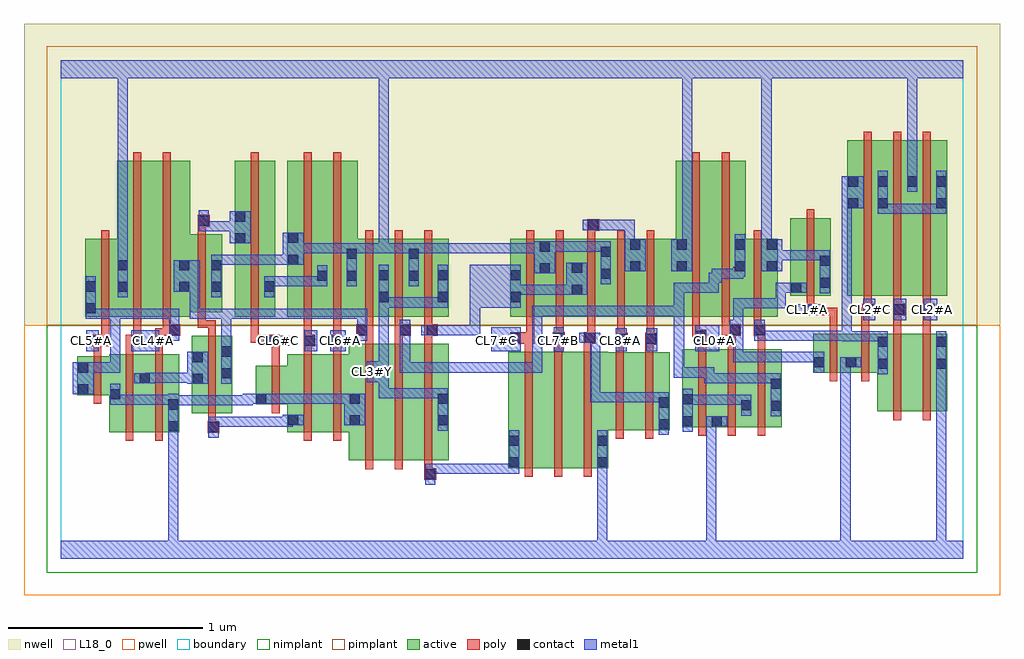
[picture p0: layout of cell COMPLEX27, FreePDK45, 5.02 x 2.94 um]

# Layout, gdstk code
import gdstk
lib = gdstk.Library(unit=1e-6, precision=1e-09)
def R(c, l, rs):  # rectangles x0, y0, x1, y1
    for r in rs: c.add(gdstk.rectangle(r[:2], r[2:], *l))
def A(c, l, x, y, w, h, nx, ny, dx, dy):  # array of equal rectangles
    R(c, l, [(x+i*dx, y+j*dy, x+i*dx+w, y+j*dy+h) for i in range(nx) for j in range(ny)])
active = (1, 0)
pwell = (2, 0)
nwell = (3, 0)
nimplant = (4, 0)
pimplant = (5, 0)
poly = (9, 0)
contact = (10, 0)
metal1 = (11, 0)
L18_0 = (18, 0)
boundary = (235, 0)

complex27 = lib.new_cell('COMPLEX27')
A(complex27, active, 3.342, 0.676, 0.06, 0.4, 3, 1, 0.152, 0)
R(complex27, active, [(2.302,0.464,2.482,1.064), (2.302,0.464,2.362,1.064), (2.482,0.464,2.634,1.064), (2.634,0.464,2.814,1.064), (2.754,0.464,2.814,0.66), (1.482,0.504,1.662,1.104), (1.662,0.504,1.814,1.104), (1.814,0.504,1.994,1.104), (1.934,0.504,1.994,1.104), (1.482,0.612,1.542,0.852), (0.25,0.65,0.462,1.05), (0.402,0.65,0.61,1.05), (0.55,0.65,0.61,1.05), (1.166,0.65,1.346,1.05), (1.346,0.65,1.542,1.05), (2.754,0.66,2.95,1.06), (2.95,0.66,3.13,1.06), (3.07,0.66,3.13,1.06), (3.194,0.676,3.254,1.076), (3.194,0.676,3.402,1.076), (3.342,0.676,3.554,1.076), (3.494,0.676,3.706,1.076), (1.166,0.682,1.226,0.85), (0.674,0.746,0.882,1.146), (0.402,0.756,0.462,1.05), (0.674,0.756,0.734,1.146), (0.822,0.756,0.882,1.146), (4.196,0.756,4.256,1.156), (4.196,0.756,4.376,1.156), (4.376,0.756,4.556,1.156), (4.496,0.756,4.556,1.156), (1.002,0.792,1.226,0.992), (1.002,0.792,1.062,0.992), (0.25,0.814,0.31,0.874), (0.086,0.84,0.31,1.04), (0.086,0.84,0.146,1.04), (3.868,0.956,4.092,1.156), (3.868,0.956,3.928,1.156), (4.032,0.956,4.256,1.156), (4.032,0.956,4.092,1.156), (0.126,1.244,0.186,1.644), (0.126,1.244,0.35,1.644), (0.29,1.244,0.47,2.044), (0.47,1.244,0.666,2.044), (0.894,1.244,1.102,2.044), (0.894,1.244,0.954,2.044), (1.042,1.244,1.102,2.044), (1.166,1.244,1.374,2.044), (1.166,1.244,1.226,2.044), (1.314,1.244,1.526,2.044), (1.314,1.244,1.374,2.044), (1.466,1.244,1.69,1.644), (1.63,1.244,1.846,1.644), (1.786,1.244,1.994,1.644), (1.934,1.244,1.994,1.644), (2.31,1.244,2.37,1.644), (2.31,1.244,2.518,1.644), (2.458,1.244,2.684,1.644), (2.624,1.244,2.684,1.644), (2.624,1.244,2.832,1.644), (2.772,1.244,2.832,1.644), (2.772,1.244,2.984,1.644), (2.924,1.244,2.984,1.644), (2.924,1.244,3.222,1.644), (3.162,1.244,3.342,2.044), (3.342,1.244,3.522,2.044), (3.462,1.244,3.686,1.644), (3.626,1.244,3.686,1.644), (0.606,1.266,0.83,1.666), (0.77,1.266,0.83,1.656), (1.63,1.314,1.69,1.644), (0.29,1.338,0.35,1.644), (3.75,1.35,3.958,1.75), (3.75,1.35,3.81,1.644), (3.898,1.35,3.958,1.75), (4.044,1.35,4.104,2.044), (4.044,1.35,4.256,2.15), (4.196,1.35,4.408,2.15), (4.348,1.35,4.556,2.15), (4.496,1.35,4.556,2.044), (0.606,1.366,0.666,1.714), (3.462,1.38,3.522,2.044), (1.786,1.39,1.846,1.644), (1.466,1.424,1.526,1.644), (2.458,1.456,2.518,1.644), (3.162,1.466,3.222,2.044), (4.196,1.686,4.256,2.044), (4.348,1.686,4.408,2.122)])
R(complex27, pwell, [(-0.188,-0.188,4.828,1.2)])
R(complex27, nwell, [(-0.188,1.2,4.828,2.748)])
R(complex27, nimplant, [(-0.072,-0.072,4.712,1.2)])
R(complex27, pimplant, [(-0.072,1.2,4.712,2.632)])
A(complex27, poly, 2.386, 0.42, 0.04, 0.688, 3, 1, 0.152, 0)
A(complex27, poly, 1.566, 0.46, 0.04, 0.688, 3, 1, 0.152, 0)
A(complex27, poly, 3.278, 0.632, 0.04, 0.488, 3, 1, 0.152, 0)
A(complex27, poly, 2.386, 1.068, 0.04, 0.076, 3, 1, 0.152, 0)
A(complex27, poly, 1.566, 1.108, 0.04, 0.076, 3, 2, 0.152, 0.056)
A(complex27, poly, 3.952, 1.16, 0.04, 0.13, 3, 1, 0.164, 0)
A(complex27, poly, 1.566, 1.2, 0.04, 0.488, 3, 1, 0.152, 0)
A(complex27, poly, 2.708, 1.2, 0.04, 0.488, 3, 1, 0.152, 0)
A(complex27, poly, 4.128, 1.27, 0.04, 0.076, 3, 1, 0.152, 0)
A(complex27, poly, 4.128, 1.306, 0.04, 0.888, 3, 1, 0.152, 0)
R(complex27, poly, [(1.87,0.404,1.93,0.464), (1.87,0.424,1.91,0.5), (0.334,0.606,0.374,1.094), (0.486,0.606,0.526,1.094), (1.25,0.606,1.29,1.094), (1.402,0.606,1.442,1.094), (2.854,0.616,2.894,1.104), (3.006,0.616,3.046,1.104), (0.756,0.646,0.816,0.706), (0.758,0.666,0.798,0.742), (0.758,0.702,0.798,1.19), (4.28,0.712,4.32,1.2), (4.432,0.712,4.472,1.2), (1.086,0.748,1.126,1.036), (0.17,0.796,0.21,1.084), (3.952,0.912,3.992,1.2), (4.116,0.912,4.156,1.2), (1.086,0.996,1.126,1.13), (0.17,1.044,0.21,1.13), (0.334,1.054,0.374,1.13), (0.486,1.054,0.526,1.184), (1.25,1.054,1.29,1.13), (1.402,1.054,1.442,1.13), (2.854,1.064,2.894,1.14), (3.006,1.064,3.046,1.14), (3.278,1.08,3.318,1.156), (3.43,1.08,3.47,1.184), (3.582,1.08,3.622,1.184), (0.14,1.09,0.25,1.15), (0.17,1.09,0.21,1.13), (0.17,1.09,0.21,1.13), (0.334,1.09,0.42,1.15), (1.066,1.09,1.126,1.15), (1.25,1.09,1.31,1.15), (1.382,1.09,1.442,1.15), (2.854,1.1,2.914,1.16), (3.006,1.1,3.066,1.16), (2.31,1.104,2.434,1.164), (2.386,1.104,2.426,1.144), (2.386,1.104,2.426,1.144), (2.53,1.104,2.59,1.164), (2.69,1.104,2.75,1.164), (0.21,1.11,0.25,1.24), (0.374,1.11,0.414,1.15), (0.374,1.11,0.414,1.15), (0.374,1.11,0.414,1.24), (0.978,1.11,1.018,1.24), (0.978,1.11,1.106,1.15), (1.066,1.11,1.106,1.15), (1.25,1.11,1.29,1.15), (1.25,1.11,1.29,1.15), (1.25,1.11,1.29,1.24), (1.402,1.11,1.442,1.15), (1.402,1.11,1.442,1.15), (1.402,1.11,1.442,1.24), (3.246,1.116,3.318,1.176), (3.278,1.116,3.318,1.156), (3.278,1.116,3.318,1.156), (2.86,1.12,2.9,1.16), (2.86,1.12,2.9,1.16), (2.86,1.12,2.9,1.24), (3.012,1.12,3.052,1.16), (3.012,1.12,3.052,1.16), (3.012,1.12,3.052,1.24), (2.394,1.124,2.434,1.24), (2.546,1.124,2.586,1.164), (2.546,1.124,2.586,1.164), (2.546,1.124,2.586,1.24), (2.708,1.124,2.748,1.164), (2.708,1.124,2.748,1.164), (2.708,1.124,2.748,1.24), (3.246,1.136,3.286,1.24), (0.486,1.144,0.566,1.184), (0.526,1.144,0.566,1.184), (0.526,1.144,0.614,1.204), (1.52,1.144,1.606,1.204), (1.566,1.144,1.606,1.184), (1.566,1.144,1.606,1.184), (1.718,1.144,1.8,1.204), (1.87,1.144,1.91,1.184), (1.87,1.144,1.91,1.184), (1.87,1.144,1.938,1.204), (3.398,1.144,3.496,1.204), (3.43,1.144,3.47,1.184), (3.43,1.144,3.47,1.184), (3.562,1.144,3.622,1.204), (0.758,1.15,0.798,1.226), (4.432,1.16,4.472,1.29), (0.526,1.164,0.566,1.24), (1.718,1.164,1.758,1.204), (1.718,1.164,1.758,1.204), (3.398,1.164,3.438,1.24), (3.562,1.164,3.602,1.24), (3.562,1.164,3.602,1.204), (3.562,1.164,3.602,1.204), (0.706,1.186,0.746,1.262), (0.706,1.186,0.798,1.226), (0.758,1.186,0.798,1.226), (0.758,1.186,0.798,1.226), (0.21,1.2,0.25,1.688), (0.374,1.2,0.414,2.088), (0.526,1.2,0.566,2.088), (0.978,1.2,1.018,2.088), (1.25,1.2,1.29,2.088), (1.402,1.2,1.442,2.088), (2.394,1.2,2.434,1.688), (2.546,1.2,2.586,1.688), (3.246,1.2,3.286,2.088), (3.398,1.2,3.438,2.088), (3.562,1.2,3.602,1.688), (0.706,1.222,0.746,1.71), (3.826,1.25,3.886,1.31), (3.846,1.25,3.886,1.29), (3.846,1.25,3.992,1.29), (4.116,1.25,4.16,1.29), (4.12,1.25,4.16,1.29), (4.12,1.25,4.18,1.31), (4.28,1.25,4.32,1.29), (4.28,1.25,4.32,1.29), (4.28,1.25,4.34,1.31), (4.432,1.25,4.492,1.31), (3.834,1.27,3.874,1.346), (4.432,1.27,4.472,1.31), (4.432,1.27,4.472,1.31), (3.834,1.306,3.874,1.794), (2.708,1.648,2.748,1.724), (0.706,1.67,0.746,1.746), (2.708,1.684,2.768,1.744), (0.706,1.706,0.766,1.766)])
A(complex27, contact, 4.048, 1.912, 0.052, 0.052, 3, 1, 0.152, 0)
R(complex27, contact, [(1.874,0.408,1.926,0.46), (2.306,0.468,2.358,0.52), (2.758,0.468,2.81,0.52), (2.306,0.58,2.358,0.632), (2.758,0.58,2.81,0.632), (0.76,0.65,0.812,0.702), (0.554,0.654,0.606,0.706), (3.074,0.664,3.126,0.716), (3.198,0.68,3.25,0.732), (3.346,0.68,3.398,0.732), (1.486,0.684,1.538,0.736), (1.938,0.684,1.99,0.736), (1.17,0.686,1.222,0.738), (3.65,0.76,3.702,0.812), (3.498,0.762,3.55,0.814), (0.554,0.766,0.606,0.818), (3.074,0.776,3.126,0.828), (3.198,0.792,3.25,0.844), (1.006,0.796,1.058,0.848), (1.486,0.796,1.538,0.848), (1.938,0.796,1.99,0.848), (0.254,0.818,0.306,0.87), (0.09,0.844,0.142,0.896), (3.65,0.872,3.702,0.924), (0.678,0.898,0.73,0.95), (0.406,0.9,0.458,0.952), (0.826,0.926,0.878,0.978), (0.09,0.956,0.142,1.008), (4.2,0.976,4.252,1.028), (4.5,0.976,4.552,1.028), (3.872,0.982,3.924,1.034), (4.036,0.982,4.088,1.034), (0.678,1.01,0.73,1.062), (0.826,1.038,0.878,1.09), (4.2,1.088,4.252,1.14), (4.5,1.088,4.552,1.14), (0.144,1.094,0.196,1.146), (0.364,1.094,0.416,1.146), (1.07,1.094,1.122,1.146), (1.254,1.094,1.306,1.146), (1.386,1.094,1.438,1.146), (2.858,1.104,2.91,1.156), (3.01,1.104,3.062,1.156), (2.314,1.108,2.366,1.16), (2.534,1.108,2.586,1.16), (2.694,1.108,2.746,1.16), (3.262,1.12,3.314,1.172), (0.558,1.148,0.61,1.2), (1.524,1.148,1.576,1.2), (1.744,1.148,1.796,1.2), (1.882,1.148,1.934,1.2), (3.44,1.148,3.492,1.2), (3.566,1.148,3.618,1.2), (3.83,1.254,3.882,1.306), (4.124,1.254,4.176,1.306), (4.284,1.254,4.336,1.306), (4.436,1.254,4.488,1.306), (0.13,1.26,0.182,1.312), (1.634,1.318,1.686,1.37), (1.938,1.318,1.99,1.37), (2.314,1.318,2.366,1.37), (2.628,1.356,2.68,1.408), (3.754,1.366,3.806,1.418), (0.294,1.37,0.346,1.422), (0.61,1.37,0.662,1.422), (0.774,1.37,0.826,1.422), (0.13,1.372,0.182,1.424), (1.046,1.372,1.098,1.424), (3.902,1.392,3.954,1.444), (1.318,1.428,1.37,1.48), (1.47,1.428,1.522,1.48), (1.79,1.428,1.842,1.48), (1.634,1.43,1.686,1.482), (1.938,1.43,1.99,1.482), (2.314,1.43,2.366,1.482), (2.776,1.438,2.828,1.49), (2.462,1.466,2.514,1.518), (2.628,1.468,2.68,1.52), (2.928,1.476,2.98,1.528), (3.166,1.476,3.218,1.528), (3.466,1.476,3.518,1.528), (3.63,1.476,3.682,1.528), (0.294,1.482,0.346,1.534), (0.61,1.482,0.662,1.534), (0.774,1.482,0.826,1.534), (3.902,1.504,3.954,1.556), (1.17,1.51,1.222,1.562), (1.47,1.54,1.522,1.592), (1.79,1.54,1.842,1.592), (2.776,1.55,2.828,1.602), (2.462,1.578,2.514,1.63), (2.928,1.588,2.98,1.64), (3.166,1.588,3.218,1.64), (3.466,1.588,3.518,1.64), (3.63,1.588,3.682,1.64), (0.898,1.62,0.95,1.672), (1.17,1.622,1.222,1.674), (2.712,1.688,2.764,1.74), (0.71,1.71,0.762,1.762), (0.898,1.732,0.95,1.784), (4.048,1.8,4.1,1.852), (4.2,1.8,4.252,1.852), (4.5,1.8,4.552,1.852), (4.5,1.912,4.552,1.964)])
A(complex27, metal1, 1.254, 1.232, 0.052, 0.052, 1, 3, 0, 0.168)
R(complex27, metal1, [(0,0,4.64,0.092), (0.554,0.04,0.606,0.092), (0.554,0.04,0.606,0.092), (0.554,0.04,0.606,0.092), (0.554,0.04,0.606,0.092), (0.554,0.04,0.606,0.092), (0.554,0.04,0.606,0.092), (0.554,0.04,0.606,0.092), (0.554,0.04,0.606,0.092), (0.554,0.04,0.606,0.092), (0.554,0.04,0.606,0.092), (0.554,0.04,0.606,0.092), (0.554,0.04,0.606,0.092), (0.554,0.04,0.606,0.84), (2.758,0.04,2.81,0.092), (2.758,0.04,2.81,0.092), (2.758,0.04,2.81,0.092), (2.758,0.04,2.81,0.092), (2.758,0.04,2.81,0.092), (2.758,0.04,2.81,0.092), (2.758,0.04,2.81,0.092), (2.758,0.04,2.81,0.092), (2.758,0.04,2.81,0.492), (3.318,0.04,3.37,0.092), (3.318,0.04,3.37,0.092), (3.318,0.04,3.37,0.092), (3.318,0.04,3.37,0.092), (3.318,0.04,3.37,0.092), (3.318,0.04,3.37,0.092), (3.318,0.04,3.37,0.092), (3.318,0.04,3.37,0.092), (3.318,0.04,3.37,0.092), (3.318,0.04,3.37,0.092), (3.318,0.04,3.37,0.092), (3.318,0.04,3.37,0.092), (3.318,0.04,3.37,0.732), (4.008,0.04,4.06,1.034), (4.5,0.04,4.552,0.092), (4.5,0.04,4.552,0.092), (4.5,0.04,4.552,0.092), (4.5,0.04,4.552,0.092), (4.5,0.04,4.552,0.092), (4.5,0.04,4.552,0.092), (4.5,0.04,4.552,0.092), (4.5,0.04,4.552,0.092), (4.5,0.04,4.552,0.092), (4.5,0.04,4.552,0.092), (4.5,0.04,4.552,1), (1.874,0.38,1.926,0.488), (1.874,0.436,2.156,0.488), (2.104,0.436,2.156,0.488), (2.104,0.436,2.358,0.488), (2.306,0.436,2.358,0.488), (2.306,0.436,2.358,0.492), (2.306,0.44,2.358,0.66), (2.758,0.44,2.81,0.66), (0.76,0.622,0.812,0.73), (0.554,0.626,0.606,0.846), (3.074,0.636,3.126,0.856), (3.198,0.652,3.25,0.872), (1.938,0.656,1.99,0.876), (0.76,0.678,0.878,0.73), (0.826,0.678,0.878,0.73), (0.826,0.678,0.988,0.73), (0.936,0.678,0.988,0.73), (0.936,0.678,0.988,0.73), (0.936,0.678,0.988,0.73), (0.936,0.678,1.194,0.73), (1.142,0.678,1.194,0.73), (1.142,0.678,1.194,0.738), (3.318,0.68,3.426,0.732), (1.458,0.684,1.566,0.848), (1.142,0.686,1.25,0.738), (3.65,0.732,3.702,0.952), (3.498,0.734,3.55,0.842), (0.554,0.788,0.606,0.84), (0.554,0.788,0.606,0.84), (0.554,0.788,0.798,0.84), (0.746,0.788,0.798,0.84), (0.746,0.788,0.878,0.84), (0.826,0.788,0.878,0.84), (0.826,0.788,0.988,0.84), (0.936,0.788,0.988,0.84), (0.936,0.788,0.988,0.848), (0.254,0.79,0.306,0.898), (0.254,0.79,0.35,0.842), (0.298,0.79,0.35,0.842), (0.298,0.79,0.46,0.842), (0.408,0.79,0.46,0.842), (0.408,0.79,0.46,0.842), (0.408,0.79,0.46,0.842), (0.408,0.79,0.606,0.842), (3.198,0.79,3.25,0.842), (3.198,0.79,3.25,0.842), (3.198,0.79,3.36,0.842), (3.308,0.79,3.36,0.842), (3.308,0.79,3.508,0.842), (3.456,0.79,3.508,0.842), (3.456,0.79,3.55,0.842), (0.936,0.796,0.988,0.848), (0.936,0.796,0.988,0.848), (0.936,0.796,0.988,0.848), (0.936,0.796,0.988,0.848), (0.936,0.796,0.988,0.848), (0.936,0.796,0.988,0.848), (0.936,0.796,1.196,0.848), (0.936,0.796,1.086,0.848), (1.144,0.796,1.196,0.848), (1.144,0.796,1.196,0.848), (1.144,0.796,1.196,0.848), (1.144,0.796,1.306,0.848), (1.254,0.796,1.306,0.848), (1.254,0.796,1.4,0.848), (1.348,0.796,1.4,0.848), (1.348,0.796,1.416,0.848), (1.364,0.796,1.416,0.848), (1.364,0.796,1.51,0.848), (2.722,0.804,2.774,0.856), (2.722,0.804,2.906,0.856), (2.722,0.804,2.774,1.16), (2.854,0.804,2.906,0.856), (2.854,0.804,2.906,0.856), (2.854,0.804,2.906,0.856), (2.854,0.804,3.094,0.856), (3.042,0.804,3.094,0.856), (3.042,0.804,3.126,0.856), (1.634,0.824,1.686,0.876), (1.634,0.824,1.686,0.876), (1.634,0.824,1.686,0.876), (1.634,0.824,1.796,0.876), (1.634,0.824,1.686,0.958), (1.744,0.824,1.796,0.876), (1.744,0.824,1.99,0.876), (1.938,0.824,1.99,0.876), (1.938,0.824,1.99,0.876), (0.062,0.844,0.17,1.008), (0.65,0.898,0.758,1.062), (0.826,0.898,0.878,1.118), (0.378,0.9,0.486,0.952), (0.434,0.9,0.486,0.952), (0.434,0.9,0.486,0.956), (3.308,0.9,3.36,0.952), (3.308,0.9,3.36,0.952), (3.308,0.9,3.36,0.952), (3.308,0.9,3.508,0.952), (3.308,0.9,3.36,0.982), (3.456,0.9,3.508,0.952), (3.456,0.9,3.508,0.952), (3.456,0.9,3.508,0.952), (3.456,0.9,3.618,0.952), (3.566,0.9,3.618,0.952), (3.566,0.9,3.702,0.952), (0.434,0.904,0.596,0.956), (0.544,0.904,0.596,0.956), (0.544,0.904,0.702,0.956), (1.574,0.906,1.686,1.014), (3.152,0.93,3.204,0.982), (3.152,0.93,3.204,0.982), (3.152,0.93,3.204,0.982), (3.152,0.93,3.36,0.982), (3.152,0.93,3.204,1.298), (3.308,0.93,3.36,0.982), (4.2,0.948,4.252,1.168), (4.5,0.948,4.552,1), (4.5,0.948,4.552,1), (4.5,0.948,4.552,1.168), (3.872,0.954,3.924,1.062), (0.118,0.956,0.17,1.008), (0.118,0.956,0.17,1.008), (0.118,0.956,0.306,1.008), (0.254,0.956,0.306,1.008), (0.254,0.956,0.306,1.284), (1.744,0.956,2.046,1.008), (1.744,0.956,1.796,1.172), (1.994,0.956,2.046,1.008), (1.994,0.956,2.046,1.008), (1.994,0.956,2.046,1.008), (1.994,0.956,2.266,1.008), (2.214,0.956,2.266,1.008), (2.214,0.956,2.266,1.008), (2.214,0.956,2.266,1.008), (2.214,0.956,2.476,1.008), (2.424,0.956,2.476,1.008), (2.424,0.956,2.476,1.298), (1.634,0.962,1.686,1.342), (4.008,0.982,4.06,1.034), (4.008,0.982,4.06,1.034), (4.008,0.982,4.06,1.034), (4.008,0.982,4.06,1.034), (4.008,0.982,4.06,1.034), (4.008,0.982,4.06,1.034), (4.008,0.982,4.06,1.034), (4.008,0.982,4.06,1.034), (4.008,0.982,4.06,1.034), (4.008,0.982,4.06,1.034), (4.008,0.982,4.06,1.034), (4.008,0.982,4.06,1.034), (4.008,0.982,4.06,1.034), (4.008,0.982,4.06,1.034), (4.008,0.982,4.06,1.034), (4.008,0.982,4.06,1.034), (4.008,0.982,4.116,1.034), (3.456,1.01,3.508,1.062), (3.456,1.01,3.618,1.062), (3.456,1.01,3.508,1.228), (3.566,1.01,3.618,1.062), (3.566,1.01,3.618,1.062), (3.566,1.01,3.618,1.062), (3.566,1.01,3.924,1.062), (2.534,1.064,2.586,1.188), (0.132,1.066,0.196,1.174), (0.364,1.066,0.506,1.174), (0.826,1.066,0.878,1.284), (1.254,1.066,1.318,1.174), (1.386,1.066,1.466,1.174), (2.214,1.066,2.366,1.188), (2.854,1.066,2.91,1.184), (3.01,1.066,3.066,1.184), (3.262,1.066,3.386,1.2), (1.042,1.094,1.174,1.146), (2.666,1.108,2.774,1.16), (2.722,1.108,2.774,1.16), (2.722,1.108,2.774,1.16), (4.014,1.116,4.066,1.168), (4.014,1.116,4.066,1.168), (4.014,1.116,4.252,1.168), (4.014,1.116,4.066,1.172), (4.2,1.116,4.252,1.168), (4.2,1.116,4.252,1.168), (0.558,1.12,0.61,1.284), (1.524,1.12,1.576,1.284), (1.744,1.12,1.796,1.172), (1.744,1.12,1.796,1.228), (3.44,1.12,3.492,1.228), (3.566,1.12,3.618,1.172), (3.566,1.12,3.618,1.172), (3.566,1.12,3.618,1.228), (3.566,1.12,3.84,1.172), (3.788,1.12,3.84,1.172), (3.788,1.12,3.95,1.172), (3.898,1.12,3.95,1.172), (3.898,1.12,3.95,1.172), (3.898,1.12,3.95,1.172), (3.898,1.12,4.066,1.172), (4.014,1.12,4.066,1.852), (1.854,1.148,1.962,1.2), (1.91,1.148,2.156,1.2), (2.104,1.148,2.156,1.2), (2.104,1.148,2.156,1.2), (2.104,1.148,2.156,1.2), (2.104,1.148,2.156,1.342), (3.44,1.176,3.508,1.228), (3.456,1.176,3.508,1.228), (3.456,1.176,3.508,1.228), (3.456,1.176,3.508,1.338), (4.124,1.226,4.188,1.334), (4.282,1.226,4.346,1.334), (4.436,1.226,4.506,1.334), (0.13,1.232,0.182,1.284), (0.13,1.232,0.182,1.284), (0.13,1.232,0.182,1.452), (0.13,1.232,0.306,1.284), (0.254,1.232,0.306,1.284), (0.254,1.232,0.306,1.284), (0.254,1.232,0.306,1.284), (0.254,1.232,0.306,1.284), (0.254,1.232,0.306,1.284), (0.254,1.232,0.306,1.284), (0.254,1.232,0.306,1.284), (0.254,1.232,0.486,1.284), (0.434,1.232,0.486,1.284), (0.434,1.232,0.61,1.284), (0.664,1.232,0.716,1.284), (0.664,1.232,0.72,1.284), (0.664,1.232,0.716,1.422), (0.668,1.232,0.72,1.284), (0.668,1.232,0.878,1.284), (0.826,1.232,0.878,1.284), (0.826,1.232,0.878,1.284), (0.826,1.232,0.878,1.284), (0.826,1.232,0.988,1.284), (0.936,1.232,0.988,1.284), (0.936,1.232,0.988,1.284), (0.936,1.232,0.988,1.284), (0.936,1.232,1.106,1.284), (1.054,1.232,1.106,1.284), (1.054,1.232,1.106,1.284), (1.054,1.232,1.106,1.284), (1.054,1.232,1.306,1.284), (1.254,1.232,1.4,1.284), (1.348,1.232,1.4,1.284), (1.348,1.232,1.416,1.284), (1.364,1.232,1.416,1.284), (1.364,1.232,1.51,1.284), (1.458,1.232,1.51,1.284), (1.458,1.232,1.576,1.284), (2.424,1.246,2.476,1.298), (2.424,1.246,2.476,1.298), (2.424,1.246,2.476,1.298), (2.424,1.246,2.664,1.298), (2.612,1.246,2.664,1.298), (2.612,1.246,2.796,1.298), (2.744,1.246,2.796,1.298), (2.744,1.246,2.796,1.298), (2.744,1.246,2.796,1.298), (2.744,1.246,2.91,1.298), (2.858,1.246,2.91,1.298), (2.858,1.246,2.91,1.298), (2.858,1.246,2.91,1.298), (2.858,1.246,3.02,1.298), (2.968,1.246,3.02,1.298), (2.968,1.246,3.02,1.298), (2.968,1.246,3.02,1.298), (2.968,1.246,3.204,1.298), (3.152,1.246,3.204,1.298), (3.152,1.246,3.204,1.418), (3.786,1.254,3.91,1.306), (3.456,1.286,3.618,1.338), (3.566,1.286,3.618,1.338), (3.566,1.286,3.618,1.338), (3.566,1.286,3.618,1.338), (3.566,1.286,3.728,1.338), (3.676,1.286,3.728,1.338), (3.676,1.286,3.728,1.418), (1.634,1.29,1.686,1.342), (1.634,1.29,1.686,1.342), (1.634,1.29,1.686,1.342), (1.634,1.29,1.686,1.342), (1.634,1.29,1.686,1.51), (1.634,1.29,1.842,1.342), (1.79,1.29,1.842,1.342), (1.79,1.29,1.962,1.342), (1.91,1.29,1.962,1.342), (1.91,1.29,1.99,1.342), (1.938,1.29,1.99,1.51), (2.104,1.29,2.366,1.51), (0.294,1.342,0.346,1.562), (0.774,1.342,0.826,1.562), (1.046,1.344,1.098,1.452), (2.314,1.356,2.366,1.408), (2.314,1.356,2.366,1.408), (2.314,1.356,2.542,1.408), (2.49,1.356,2.542,1.408), (2.49,1.356,2.542,1.408), (2.49,1.356,2.542,1.408), (2.49,1.356,2.652,1.408), (2.6,1.356,2.708,1.52), (3.902,1.364,3.954,1.584), (3.152,1.366,3.204,1.418), (3.152,1.366,3.382,1.418), (3.33,1.366,3.382,1.47), (3.676,1.366,3.834,1.418), (0.582,1.37,0.716,1.534), (1.046,1.4,1.098,1.452), (1.046,1.4,1.098,1.452), (1.046,1.4,1.306,1.452), (1.254,1.4,1.37,1.452), (1.318,1.4,1.37,1.508), (1.47,1.4,1.522,1.62), (1.79,1.4,1.842,1.62), (2.776,1.41,2.828,1.63), (3.33,1.418,3.398,1.47), (3.346,1.418,3.398,1.49), (3.346,1.438,3.508,1.49), (3.456,1.438,3.508,1.5), (3.456,1.448,3.518,1.5), (3.466,1.448,3.518,1.668), (2.434,1.466,2.542,1.63), (2.9,1.476,3.008,1.64), (3.138,1.476,3.246,1.64), (3.602,1.476,3.71,1.64), (0.294,1.51,0.346,2.52), (0.774,1.51,0.988,1.562), (0.936,1.51,0.988,1.562), (0.936,1.51,0.988,1.562), (0.936,1.51,0.988,1.562), (0.936,1.51,1.194,1.562), (1.142,1.51,1.194,1.562), (1.142,1.51,1.194,1.562), (1.142,1.51,1.25,1.674), (3.658,1.532,3.84,1.584), (3.788,1.532,3.84,1.584), (3.788,1.532,3.84,1.584), (3.788,1.532,3.84,1.584), (3.788,1.532,3.954,1.584), (1.198,1.568,1.306,1.62), (1.254,1.568,1.4,1.62), (1.348,1.568,1.4,1.62), (1.348,1.568,1.416,1.62), (1.364,1.568,1.416,1.62), (1.364,1.568,1.522,1.62), (1.47,1.568,1.526,1.62), (1.474,1.568,1.526,1.62), (1.474,1.568,1.686,1.62), (1.634,1.568,1.686,1.62), (1.634,1.568,1.686,1.62), (1.634,1.568,1.686,1.62), (1.634,1.568,1.686,1.62), (1.634,1.568,1.686,1.62), (1.634,1.568,1.686,1.62), (1.634,1.568,1.686,1.62), (1.634,1.568,1.686,1.62), (1.634,1.568,1.686,1.62), (1.634,1.568,1.686,1.62), (1.634,1.568,1.686,1.62), (1.634,1.568,1.686,1.62), (1.634,1.568,1.686,1.62), (1.634,1.568,1.686,1.62), (1.634,1.568,1.686,1.62), (1.634,1.568,1.686,1.62), (1.634,1.568,1.686,1.62), (1.634,1.568,1.842,1.62), (1.634,1.568,1.686,2.52), (1.79,1.568,2.046,1.62), (1.994,1.568,2.046,1.62), (1.994,1.568,2.046,1.62), (1.994,1.568,2.046,1.62), (1.994,1.568,2.366,1.62), (2.314,1.568,2.366,1.62), (2.314,1.568,2.366,1.62), (2.314,1.568,2.366,1.62), (2.314,1.568,2.486,1.62), (2.49,1.578,2.542,1.63), (2.49,1.578,2.542,1.63), (2.49,1.578,2.652,1.63), (2.6,1.578,2.652,1.63), (2.6,1.578,2.652,1.63), (2.6,1.578,2.652,1.63), (2.6,1.578,2.828,1.63), (2.9,1.588,2.952,1.74), (3.194,1.588,3.246,1.64), (3.194,1.588,3.246,1.64), (3.194,1.588,3.246,1.64), (3.194,1.588,3.246,1.64), (3.194,1.588,3.246,1.64), (3.194,1.588,3.246,1.64), (3.194,1.588,3.246,2.52), (3.602,1.588,3.654,2.52), (0.87,1.62,0.978,1.784), (0.71,1.682,0.762,1.79), (0.71,1.682,0.878,1.734), (0.826,1.682,0.878,1.734), (0.826,1.682,0.922,1.734), (2.684,1.688,2.792,1.74), (2.74,1.688,2.792,1.74), (2.74,1.688,2.792,1.74), (2.74,1.688,2.906,1.74), (2.854,1.688,2.906,1.74), (2.854,1.688,2.952,1.74), (2.9,1.688,2.952,1.74), (4.2,1.772,4.252,1.992), (4.2,1.772,4.378,1.824), (4.326,1.772,4.378,1.824), (4.326,1.772,4.378,1.824), (4.326,1.772,4.378,1.824), (4.326,1.772,4.552,1.824), (4.5,1.772,4.552,1.824), (4.5,1.772,4.552,1.824), (4.5,1.772,4.552,1.992), (4.014,1.8,4.066,1.852), (4.014,1.8,4.066,1.852), (4.014,1.8,4.128,1.964), (4.352,1.884,4.404,1.992), (4.352,1.94,4.404,1.992), (4.352,1.94,4.404,1.992), (4.352,1.94,4.404,2.52), (0,2.468,4.64,2.56), (0.294,2.468,0.346,2.52), (0.294,2.468,0.346,2.52), (0.294,2.468,0.346,2.52), (0.294,2.468,0.346,2.52), (0.294,2.468,0.346,2.52), (0.294,2.468,0.346,2.52), (0.294,2.468,0.346,2.52), (0.294,2.468,0.346,2.52), (1.634,2.468,1.686,2.52), (1.634,2.468,1.686,2.52), (3.194,2.468,3.246,2.52), (3.194,2.468,3.246,2.52), (3.602,2.468,3.654,2.52), (3.602,2.468,3.654,2.52), (3.602,2.468,3.654,2.52), (3.602,2.468,3.654,2.52), (3.602,2.468,3.654,2.52), (3.602,2.468,3.654,2.52), (3.602,2.468,3.654,2.52), (3.602,2.468,3.654,2.52), (3.602,2.468,3.654,2.52), (3.602,2.468,3.654,2.52), (3.602,2.468,3.654,2.52), (3.602,2.468,3.654,2.52), (3.602,2.468,3.654,2.52), (3.602,2.468,3.654,2.52), (3.602,2.468,3.654,2.52), (3.602,2.468,3.654,2.52), (4.352,2.468,4.404,2.52), (4.352,2.468,4.404,2.52), (4.352,2.468,4.404,2.52), (4.352,2.468,4.404,2.52), (4.352,2.468,4.404,2.52), (4.352,2.468,4.404,2.52)])
A(complex27, L18_0, 1.094, 1.094, 0.052, 0.052, 3, 1, 0.16, 0)
A(complex27, L18_0, 2.214, 1.094, 0.052, 0.052, 3, 1, 0.32, 0)
A(complex27, L18_0, 4.134, 1.254, 0.052, 0.052, 3, 1, 0.16, 0)
R(complex27, L18_0, [(0,0,4.64,0.092), (0.554,0.04,0.606,0.092), (0.554,0.04,0.606,0.092), (0.554,0.04,0.606,0.092), (0.554,0.04,0.606,0.092), (0.554,0.04,0.606,0.092), (0.554,0.04,0.606,0.092), (0.554,0.04,0.606,0.092), (0.554,0.04,0.606,0.092), (0.554,0.04,0.606,0.092), (0.554,0.04,0.606,0.092), (0.554,0.04,0.606,0.092), (0.554,0.04,0.606,0.092), (0.554,0.04,0.606,0.84), (2.758,0.04,2.81,0.092), (2.758,0.04,2.81,0.092), (2.758,0.04,2.81,0.092), (2.758,0.04,2.81,0.092), (2.758,0.04,2.81,0.092), (2.758,0.04,2.81,0.092), (2.758,0.04,2.81,0.092), (2.758,0.04,2.81,0.092), (2.758,0.04,2.81,0.492), (3.318,0.04,3.37,0.092), (3.318,0.04,3.37,0.092), (3.318,0.04,3.37,0.092), (3.318,0.04,3.37,0.092), (3.318,0.04,3.37,0.092), (3.318,0.04,3.37,0.092), (3.318,0.04,3.37,0.092), (3.318,0.04,3.37,0.092), (3.318,0.04,3.37,0.092), (3.318,0.04,3.37,0.092), (3.318,0.04,3.37,0.092), (3.318,0.04,3.37,0.092), (3.318,0.04,3.37,0.732), (4.008,0.04,4.06,1.034), (4.5,0.04,4.552,0.092), (4.5,0.04,4.552,0.092), (4.5,0.04,4.552,0.092), (4.5,0.04,4.552,0.092), (4.5,0.04,4.552,0.092), (4.5,0.04,4.552,0.092), (4.5,0.04,4.552,0.092), (4.5,0.04,4.552,0.092), (4.5,0.04,4.552,0.092), (4.5,0.04,4.552,0.092), (4.5,0.04,4.552,1), (2.758,0.44,2.81,0.66), (0.554,0.626,0.606,0.846), (1.938,0.656,1.99,0.876), (3.318,0.68,3.426,0.732), (1.458,0.684,1.566,0.848), (0.554,0.788,0.606,0.84), (0.554,0.788,0.606,0.84), (0.554,0.788,0.798,0.84), (0.746,0.788,0.798,0.84), (0.746,0.788,0.878,0.84), (0.826,0.788,0.878,0.84), (0.826,0.788,0.988,0.84), (0.936,0.788,0.988,0.84), (0.936,0.788,0.988,0.848), (0.254,0.79,0.306,0.898), (0.254,0.79,0.35,0.842), (0.298,0.79,0.35,0.842), (0.298,0.79,0.46,0.842), (0.408,0.79,0.46,0.842), (0.408,0.79,0.46,0.842), (0.408,0.79,0.46,0.842), (0.408,0.79,0.606,0.842), (0.936,0.796,0.988,0.848), (0.936,0.796,0.988,0.848), (0.936,0.796,0.988,0.848), (0.936,0.796,0.988,0.848), (0.936,0.796,0.988,0.848), (0.936,0.796,0.988,0.848), (0.936,0.796,1.086,0.848), (0.936,0.796,1.196,0.848), (1.144,0.796,1.196,0.848), (1.144,0.796,1.196,0.848), (1.144,0.796,1.196,0.848), (1.144,0.796,1.306,0.848), (1.254,0.796,1.306,0.848), (1.254,0.796,1.4,0.848), (1.348,0.796,1.4,0.848), (1.348,0.796,1.416,0.848), (1.364,0.796,1.416,0.848), (1.364,0.796,1.51,0.848), (1.634,0.824,1.686,0.876), (1.634,0.824,1.686,0.876), (1.634,0.824,1.686,0.876), (1.634,0.824,1.796,0.876), (1.634,0.824,1.686,0.958), (1.744,0.824,1.796,0.876), (1.744,0.824,1.99,0.876), (1.938,0.824,1.99,0.876), (1.938,0.824,1.99,0.876), (1.574,0.906,1.686,1.014), (1.574,0.934,1.626,0.986), (4.5,0.948,4.552,1.168), (4.5,0.948,4.552,1), (4.5,0.948,4.552,1), (1.634,0.962,1.686,1.342), (4.008,0.982,4.06,1.034), (4.008,0.982,4.06,1.034), (4.008,0.982,4.06,1.034), (4.008,0.982,4.06,1.034), (4.008,0.982,4.06,1.034), (4.008,0.982,4.06,1.034), (4.008,0.982,4.06,1.034), (4.008,0.982,4.06,1.034), (4.008,0.982,4.06,1.034), (4.008,0.982,4.06,1.034), (4.008,0.982,4.06,1.034), (4.008,0.982,4.06,1.034), (4.008,0.982,4.06,1.034), (4.008,0.982,4.06,1.034), (4.008,0.982,4.06,1.034), (4.008,0.982,4.06,1.034), (4.008,0.982,4.116,1.034), (2.534,1.064,2.586,1.188), (0.132,1.066,0.196,1.174), (0.364,1.066,0.506,1.174), (1.254,1.066,1.318,1.174), (1.386,1.066,1.466,1.174), (2.214,1.066,2.366,1.188), (2.854,1.066,2.91,1.184), (3.01,1.066,3.066,1.184), (3.262,1.066,3.386,1.2), (0.134,1.094,0.186,1.146), (0.454,1.094,0.506,1.146), (1.042,1.094,1.174,1.146), (3.014,1.094,3.066,1.146), (3.334,1.094,3.386,1.146), (4.124,1.226,4.188,1.334), (4.282,1.226,4.346,1.334), (4.436,1.226,4.506,1.334), (3.786,1.254,3.91,1.306), (3.814,1.254,3.866,1.306), (1.634,1.29,1.686,1.51), (1.634,1.29,1.686,1.342), (1.634,1.29,1.686,1.342), (1.634,1.29,1.686,1.342), (1.634,1.29,1.686,1.342), (1.634,1.29,1.842,1.342), (1.79,1.29,1.842,1.342), (1.79,1.29,1.962,1.342), (1.91,1.29,1.962,1.342), (1.91,1.29,1.99,1.342), (1.938,1.29,1.99,1.51), (0.294,1.342,0.346,1.562), (0.774,1.342,0.826,1.562), (3.902,1.364,3.954,1.584), (1.47,1.4,1.522,1.62), (1.79,1.4,1.842,1.62), (2.776,1.41,2.828,1.63), (2.434,1.466,2.542,1.63), (3.138,1.476,3.246,1.64), (3.602,1.476,3.71,1.64), (0.294,1.51,0.346,2.52), (0.774,1.51,0.988,1.562), (0.936,1.51,0.988,1.562), (0.936,1.51,0.988,1.562), (0.936,1.51,0.988,1.562), (0.936,1.51,1.194,1.562), (1.142,1.51,1.194,1.562), (1.142,1.51,1.194,1.562), (1.142,1.51,1.25,1.674), (3.658,1.532,3.84,1.584), (3.788,1.532,3.84,1.584), (3.788,1.532,3.84,1.584), (3.788,1.532,3.84,1.584), (3.788,1.532,3.954,1.584), (1.198,1.568,1.306,1.62), (1.254,1.568,1.306,1.62), (1.254,1.568,1.4,1.62), (1.348,1.568,1.4,1.62), (1.348,1.568,1.416,1.62), (1.364,1.568,1.416,1.62), (1.364,1.568,1.522,1.62), (1.47,1.568,1.526,1.62), (1.474,1.568,1.526,1.62), (1.474,1.568,1.686,1.62), (1.634,1.568,1.686,1.62), (1.634,1.568,1.686,1.62), (1.634,1.568,1.686,1.62), (1.634,1.568,1.686,1.62), (1.634,1.568,1.686,1.62), (1.634,1.568,1.686,1.62), (1.634,1.568,1.686,1.62), (1.634,1.568,1.686,1.62), (1.634,1.568,1.686,1.62), (1.634,1.568,1.686,1.62), (1.634,1.568,1.686,1.62), (1.634,1.568,1.686,1.62), (1.634,1.568,1.686,1.62), (1.634,1.568,1.686,1.62), (1.634,1.568,1.686,1.62), (1.634,1.568,1.686,1.62), (1.634,1.568,1.686,1.62), (1.634,1.568,1.686,2.52), (1.634,1.568,1.842,1.62), (1.79,1.568,2.046,1.62), (1.994,1.568,2.046,1.62), (1.994,1.568,2.046,1.62), (1.994,1.568,2.046,1.62), (1.994,1.568,2.366,1.62), (2.314,1.568,2.366,1.62), (2.314,1.568,2.366,1.62), (2.314,1.568,2.366,1.62), (2.314,1.568,2.486,1.62), (2.49,1.578,2.542,1.63), (2.49,1.578,2.542,1.63), (2.49,1.578,2.652,1.63), (2.6,1.578,2.652,1.63), (2.6,1.578,2.652,1.63), (2.6,1.578,2.652,1.63), (2.6,1.578,2.828,1.63), (3.194,1.588,3.246,1.64), (3.194,1.588,3.246,1.64), (3.194,1.588,3.246,1.64), (3.194,1.588,3.246,1.64), (3.194,1.588,3.246,1.64), (3.194,1.588,3.246,1.64), (3.194,1.588,3.246,2.52), (3.602,1.588,3.654,2.52), (4.352,1.884,4.404,1.992), (4.352,1.94,4.404,1.992), (4.352,1.94,4.404,1.992), (4.352,1.94,4.404,2.52), (0,2.468,4.64,2.56), (0.294,2.468,0.346,2.52), (0.294,2.468,0.346,2.52), (0.294,2.468,0.346,2.52), (0.294,2.468,0.346,2.52), (0.294,2.468,0.346,2.52), (0.294,2.468,0.346,2.52), (0.294,2.468,0.346,2.52), (0.294,2.468,0.346,2.52), (1.634,2.468,1.686,2.52), (1.634,2.468,1.686,2.52), (3.194,2.468,3.246,2.52), (3.194,2.468,3.246,2.52), (3.602,2.468,3.654,2.52), (3.602,2.468,3.654,2.52), (3.602,2.468,3.654,2.52), (3.602,2.468,3.654,2.52), (3.602,2.468,3.654,2.52), (3.602,2.468,3.654,2.52), (3.602,2.468,3.654,2.52), (3.602,2.468,3.654,2.52), (3.602,2.468,3.654,2.52), (3.602,2.468,3.654,2.52), (3.602,2.468,3.654,2.52), (3.602,2.468,3.654,2.52), (3.602,2.468,3.654,2.52), (3.602,2.468,3.654,2.52), (3.602,2.468,3.654,2.52), (3.602,2.468,3.654,2.52), (4.352,2.468,4.404,2.52), (4.352,2.468,4.404,2.52), (4.352,2.468,4.404,2.52), (4.352,2.468,4.404,2.52), (4.352,2.468,4.404,2.52), (4.352,2.468,4.404,2.52)])
R(complex27, boundary, [(0,0,4.64,2.56)])
complex27.add(gdstk.Label('CL0#A', (3.36,1.12), layer=11, texttype=0))
complex27.add(gdstk.Label('CL1#A', (3.84,1.28), layer=11, texttype=0))
complex27.add(gdstk.Label('CL2#A', (4.48,1.28), layer=11, texttype=0))
complex27.add(gdstk.Label('CL2#B', (4.32,1.28), layer=11, texttype=0))
complex27.add(gdstk.Label('CL2#C', (4.16,1.28), layer=11, texttype=0))
complex27.add(gdstk.Label('CL3#Y', (1.6,0.96), layer=11, texttype=0))
complex27.add(gdstk.Label('CL4#A', (0.48,1.12), layer=11, texttype=0))
complex27.add(gdstk.Label('CL5#A', (0.16,1.12), layer=11, texttype=0))
complex27.add(gdstk.Label('CL6#A', (1.44,1.12), layer=11, texttype=0))
complex27.add(gdstk.Label('CL6#B', (1.28,1.12), layer=11, texttype=0))
complex27.add(gdstk.Label('CL6#C', (1.12,1.12), layer=11, texttype=0))
complex27.add(gdstk.Label('CL7#B', (2.56,1.12), layer=11, texttype=0))
complex27.add(gdstk.Label('CL7#C', (2.24,1.12), layer=11, texttype=0))
complex27.add(gdstk.Label('CL8#A', (2.88,1.12), layer=11, texttype=0))
complex27.add(gdstk.Label('CL8#B', (3.04,1.12), layer=11, texttype=0))

lib.write_gds('COMPLEX27.gds')
